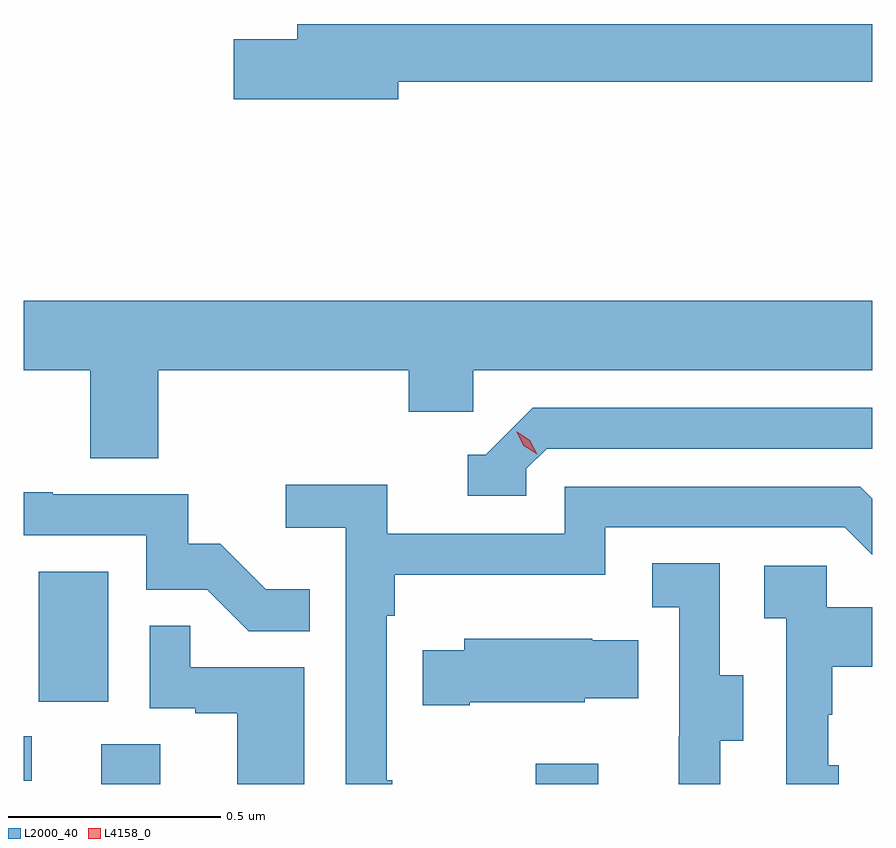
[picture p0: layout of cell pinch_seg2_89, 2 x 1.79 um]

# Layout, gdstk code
import gdstk
lib = gdstk.Library(unit=1e-6, precision=1e-09)
def R(c, l, rs):  # rectangles x0, y0, x1, y1
    for r in rs: c.add(gdstk.rectangle(r[:2], r[2:], *l))
def P(c, l, *ps):  # polygons
    for p in ps: c.add(gdstk.Polygon(p, *l))
L2000_40 = (2000, 40)
L4158_0 = (4158, 0)

pinch_seg2_89 = lib.new_cell('pinch_seg2_89')
R(pinch_seg2_89, L2000_40, [(1064.789,646.66,1064.929,646.754), (1065.814,646.66,1065.961,646.708), (1064.607,646.668,1064.626,646.773), (1064.642,646.854,1064.806,647.161)])
P(pinch_seg2_89, L2000_40, [(1065.49,648.316),(1066.607,648.316),(1066.607,648.452),(1065.251,648.452),(1065.251,648.416),(1065.102,648.416),(1065.102,648.274),(1065.49,648.274)],
  [(1064.924,647.636),(1065.515,647.636),(1065.515,647.538),(1065.666,647.538),(1065.666,647.636),(1066.607,647.636),(1066.607,647.8),(1064.607,647.8),(1064.607,647.636),(1064.764,647.636),(1064.764,647.428),(1064.924,647.428)],
  [(1065.792,647.403),(1065.84,647.451),(1066.607,647.451),(1066.607,647.547),(1065.807,647.547),(1065.696,647.436),(1065.653,647.436),(1065.653,647.34),(1065.792,647.34)],
  [(1065.475,646.669),(1065.462,646.669),(1065.462,647.057),(1065.482,647.057),(1065.482,647.153),(1065.978,647.153),(1065.978,647.265),(1066.542,647.265),(1066.607,647.2),(1066.607,647.333),(1066.579,647.361),(1065.882,647.361),(1065.882,647.25),(1065.464,647.25),(1065.464,647.366),(1065.225,647.366),(1065.225,647.264),(1065.366,647.264),(1065.366,646.66),(1065.475,646.66)],
  [(1065.281,647.119),(1065.177,647.119),(1065.07,647.226),(1064.994,647.226),(1064.994,647.343),(1064.675,647.343),(1064.675,647.348),(1064.607,647.348),(1064.607,647.247),(1064.895,647.247),(1064.895,647.118),(1065.039,647.118),(1065.137,647.02),(1065.281,647.02)],
  [(1066.249,646.762),(1066.303,646.762),(1066.303,646.917),(1066.248,646.917),(1066.248,647.18),(1066.089,647.18),(1066.089,647.077),(1066.152,647.077),(1066.152,646.773),(1066.151,646.773),(1066.151,646.66),(1066.249,646.66)],
  [(1066.528,646.704),(1066.503,646.704),(1066.503,646.823),(1066.513,646.823),(1066.513,646.937),(1066.607,646.937),(1066.607,647.077),(1066.5,647.077),(1066.5,647.175),(1066.353,647.175),(1066.353,647.051),(1066.404,647.051),(1066.404,646.66),(1066.528,646.66)],
  [(1065.268,646.935),(1064.999,646.935),(1064.999,647.033),(1064.904,647.033),(1064.904,646.839),(1065.011,646.839),(1065.011,646.827),(1065.11,646.827),(1065.11,646.66),(1065.268,646.66)],
  [(1065.658,646.853),(1065.93,646.853),(1065.93,646.862),(1066.055,646.862),(1066.055,646.999),(1065.947,646.999),(1065.947,647.002),(1065.645,647.002),(1065.645,646.975),(1065.547,646.975),(1065.547,646.846),(1065.658,646.846)])
P(pinch_seg2_89, L4158_0, [(1065.817,647.438),(1065.786,647.457),(1065.769,647.489),(1065.769,647.49),(1065.77,647.49),(1065.8,647.47),(1065.817,647.438),(1065.817,647.438)])

lib.write_gds('pinch_seg2_89.gds')
